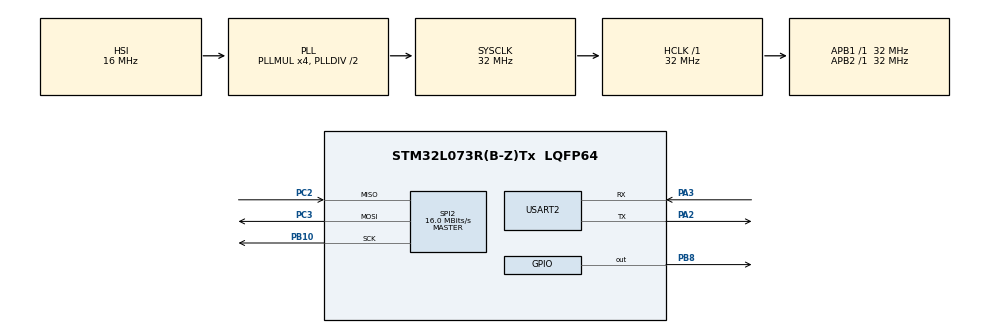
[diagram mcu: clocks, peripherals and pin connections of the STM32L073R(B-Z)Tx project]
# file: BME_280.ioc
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Mcu.Family=STM32L0
Mcu.Name=STM32L073R(B-Z)Tx
Mcu.Package=LQFP64
NVIC.TIM2_IRQn=true\:0\:0\:false\:false\:true\:true\:true\:true
PA2.Mode=Asynchronous
PA2.Signal=USART2_TX
PA3.Mode=Asynchronous
PA3.Signal=USART2_RX
PB10.Mode=Full_Duplex_Master
PB10.Signal=SPI2_SCK
PB8.Signal=GPIO_Output
PC2.Mode=Full_Duplex_Master
PC2.Signal=SPI2_MISO
PC3.Mode=Full_Duplex_Master
PC3.Signal=SPI2_MOSI
ProjectManager.HeapSize=0x200
ProjectManager.StackSize=0x400
ProjectManager.TargetToolchain=STM32CubeIDE
RCC.AHBFreq_Value=32000000
RCC.APB1Freq_Value=32000000
RCC.APB1TimFreq_Value=32000000
RCC.APB2Freq_Value=32000000
RCC.APB2TimFreq_Value=32000000
RCC.HCLKFreq_Value=32000000
RCC.HSE_VALUE=8000000
RCC.HSI16_VALUE=16000000
RCC.HSI48_VALUE=48000000
RCC.HSI_VALUE=16000000
RCC.LSE_VALUE=32768
RCC.MSI_VALUE=2097000
RCC.PLLMUL=RCC_PLLMUL_4
RCC.SYSCLKFreq_VALUE=32000000
RCC.SYSCLKSource=RCC_SYSCLKSOURCE_PLLCLK
RCC.VCOOutputFreq_Value=64000000
SPI2.CLKPhase=SPI_PHASE_2EDGE
SPI2.CLKPolarity=SPI_POLARITY_HIGH
SPI2.CalculateBaudRate=16.0 MBits/s
SPI2.Direction=SPI_DIRECTION_2LINES
SPI2.Mode=SPI_MODE_MASTER
SPI2.VirtualType=VM_MASTER
TIM2.Period=10000-1
TIM2.Prescaler=3200-1
USART2.VirtualMode-Asynchronous=VM_ASYNC
VP_TIM2_VS_ClockSourceINT.Mode=Internal
board=custom

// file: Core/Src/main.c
/* USER CODE BEGIN Header */
/**
  ******************************************************************************
  * @file           : main.c
  * @brief          : Main program body
  ******************************************************************************
  * @attention
  *
  * Copyright (c) 2023 STMicroelectronics.
  * All rights reserved.
  *
  * This software is licensed under terms that can be found in the LICENSE file
  * in the root directory of this software component.
  * If no LICENSE file comes with this software, it is provided AS-IS.
  *
  ******************************************************************************
  */
/* USER CODE END Header */
#include "main.h"

/* USER CODE BEGIN Includes */
#include "bme280.h"
#include <string.h>
#include <stdio.h>
/* USER CODE END Includes */

SPI_HandleTypeDef hspi2;

TIM_HandleTypeDef htim2;

UART_HandleTypeDef huart2;

void SystemClock_Config(void);
static void MX_GPIO_Init(void);
static void MX_USART2_UART_Init(void);
static void MX_SPI2_Init(void);
static void MX_TIM2_Init(void);
/* USER CODE BEGIN PFP */
void stream_sensor_data_normal_mode(struct bme280_dev *dev);
void print_sensor_data(struct bme280_data *comp_data);
void BME280_SPI_Write(uint8_t reg_addr, uint8_t *reg_data, uint32_t len);
void BME280_SPI_Read(uint8_t reg_addr, uint8_t *reg_data, uint32_t len);
//void user_delay_us(uint32_t period, void *intf_ptr);
/* USER CODE END PFP */

/* USER CODE BEGIN 0 */
#define SENSOR_BUS hspi2;
struct bme280_dev dev;
struct bme280_data comp_data;
int __io_putchar(int ch) // UART - NOT NEEDED LATER ON
{
	HAL_UART_Transmit(&huart2, (uint8_t*)&ch, 1, HAL_MAX_DELAY);
	return 1;
}
void HAL_TIM_PeriodElapsedCallback(TIM_HandleTypeDef *htim){ // INTERRUPT - CHANGE ITS BODY TO CHANGE A VALUE OF A FLAG -> SWITCH CASE IN MAIN
	if(htim == &htim2){
		bme280_get_sensor_data(BME280_HUM, &comp_data, &dev); // BME280_ALL
		print_sensor_data(&comp_data);
	}
}
/* USER CODE END 0 */

int main(void)
{

  /* MCU Configuration--------------------------------------------------------*/

  /* Reset of all peripherals, Initializes the Flash interface and the Systick. */
  HAL_Init();

  /* Configure the system clock */
  SystemClock_Config();

  /* Initialize all configured peripherals */
  MX_GPIO_Init();
  MX_USART2_UART_Init();
  MX_SPI2_Init();
  MX_TIM2_Init();
  /* USER CODE BEGIN 2 */

  int8_t rslt = BME280_OK;

  dev.intf_ptr = &SENSOR_BUS;
  dev.intf = BME280_SPI_INTF;
  dev.read = BME280_SPI_Read;
  dev.write = BME280_SPI_Write;
  //dev.delay_us = user_delay_us;

  rslt = bme280_init(&dev);
  if (rslt != BME280_OK)
  {
	  printf("Error - BME280 not detected %d\n", rslt);
	  while(1);
  }

  stream_sensor_data_normal_mode(&dev);

  printf("Initialization successful\n");

  HAL_TIM_Base_Start_IT(&htim2);

  /* USER CODE END 2 */

  /* Infinite loop */
  /* USER CODE BEGIN WHILE */
  while (1)
  {
	  //stream_sensor_data_normal_mode(&dev);

    /* USER CODE END WHILE */

  }
}

void SystemClock_Config(void)
{
  RCC_OscInitTypeDef RCC_OscInitStruct = {0};
  RCC_ClkInitTypeDef RCC_ClkInitStruct = {0};
  RCC_PeriphCLKInitTypeDef PeriphClkInit = {0};

  /** Configure the main internal regulator output voltage
  */
  __HAL_PWR_VOLTAGESCALING_CONFIG(PWR_REGULATOR_VOLTAGE_SCALE1);

  /** Initializes the RCC Oscillators according to the specified parameters
  * in the RCC_OscInitTypeDef structure.
  */
  RCC_OscInitStruct.OscillatorType = RCC_OSCILLATORTYPE_HSI;
  RCC_OscInitStruct.HSIState = RCC_HSI_ON;
  RCC_OscInitStruct.HSICalibrationValue = RCC_HSICALIBRATION_DEFAULT;
  RCC_OscInitStruct.PLL.PLLState = RCC_PLL_ON;
  RCC_OscInitStruct.PLL.PLLSource = RCC_PLLSOURCE_HSI;
  RCC_OscInitStruct.PLL.PLLMUL = RCC_PLLMUL_4;
  RCC_OscInitStruct.PLL.PLLDIV = RCC_PLLDIV_2;
  if (HAL_RCC_OscConfig(&RCC_OscInitStruct) != HAL_OK)
  {
    Error_Handler();
  }

  /** Initializes the CPU, AHB and APB buses clocks
  */
  RCC_ClkInitStruct.ClockType = RCC_CLOCKTYPE_HCLK|RCC_CLOCKTYPE_SYSCLK
                              |RCC_CLOCKTYPE_PCLK1|RCC_CLOCKTYPE_PCLK2;
  RCC_ClkInitStruct.SYSCLKSource = RCC_SYSCLKSOURCE_PLLCLK;
  RCC_ClkInitStruct.AHBCLKDivider = RCC_SYSCLK_DIV1;
  RCC_ClkInitStruct.APB1CLKDivider = RCC_HCLK_DIV1;
  RCC_ClkInitStruct.APB2CLKDivider = RCC_HCLK_DIV1;

  if (HAL_RCC_ClockConfig(&RCC_ClkInitStruct, FLASH_LATENCY_1) != HAL_OK)
  {
    Error_Handler();
  }
  PeriphClkInit.PeriphClockSelection = RCC_PERIPHCLK_USART2;
  PeriphClkInit.Usart2ClockSelection = RCC_USART2CLKSOURCE_PCLK1;
  if (HAL_RCCEx_PeriphCLKConfig(&PeriphClkInit) != HAL_OK)
  {
    Error_Handler();
  }
}

static void MX_SPI2_Init(void)
{

  /* SPI2 parameter configuration*/
  hspi2.Instance = SPI2;
  hspi2.Init.Mode = SPI_MODE_MASTER;
  hspi2.Init.Direction = SPI_DIRECTION_2LINES;
  hspi2.Init.DataSize = SPI_DATASIZE_8BIT;
  hspi2.Init.CLKPolarity = SPI_POLARITY_HIGH;
  hspi2.Init.CLKPhase = SPI_PHASE_2EDGE;
  hspi2.Init.NSS = SPI_NSS_SOFT;
  hspi2.Init.BaudRatePrescaler = SPI_BAUDRATEPRESCALER_2;
  hspi2.Init.FirstBit = SPI_FIRSTBIT_MSB;
  hspi2.Init.TIMode = SPI_TIMODE_DISABLE;
  hspi2.Init.CRCCalculation = SPI_CRCCALCULATION_DISABLE;
  hspi2.Init.CRCPolynomial = 7;
  if (HAL_SPI_Init(&hspi2) != HAL_OK)
  {
    Error_Handler();
  }

}

static void MX_TIM2_Init(void)
{

  TIM_ClockConfigTypeDef sClockSourceConfig = {0};
  TIM_MasterConfigTypeDef sMasterConfig = {0};

  htim2.Instance = TIM2;
  htim2.Init.Prescaler = 3200-1;
  htim2.Init.CounterMode = TIM_COUNTERMODE_UP;
  htim2.Init.Period = 10000-1;
  htim2.Init.ClockDivision = TIM_CLOCKDIVISION_DIV1;
  htim2.Init.AutoReloadPreload = TIM_AUTORELOAD_PRELOAD_DISABLE;
  if (HAL_TIM_Base_Init(&htim2) != HAL_OK)
  {
    Error_Handler();
  }
  sClockSourceConfig.ClockSource = TIM_CLOCKSOURCE_INTERNAL;
  if (HAL_TIM_ConfigClockSource(&htim2, &sClockSourceConfig) != HAL_OK)
  {
    Error_Handler();
  }
  sMasterConfig.MasterOutputTrigger = TIM_TRGO_RESET;
  sMasterConfig.MasterSlaveMode = TIM_MASTERSLAVEMODE_DISABLE;
  if (HAL_TIMEx_MasterConfigSynchronization(&htim2, &sMasterConfig) != HAL_OK)
  {
    Error_Handler();
  }

}

static void MX_USART2_UART_Init(void)
{

  huart2.Instance = USART2;
  huart2.Init.BaudRate = 115200;
  huart2.Init.WordLength = UART_WORDLENGTH_8B;
  huart2.Init.StopBits = UART_STOPBITS_1;
  huart2.Init.Parity = UART_PARITY_NONE;
  huart2.Init.Mode = UART_MODE_TX_RX;
  huart2.Init.HwFlowCtl = UART_HWCONTROL_NONE;
  huart2.Init.OverSampling = UART_OVERSAMPLING_16;
  huart2.Init.OneBitSampling = UART_ONE_BIT_SAMPLE_DISABLE;
  huart2.AdvancedInit.AdvFeatureInit = UART_ADVFEATURE_NO_INIT;
  if (HAL_UART_Init(&huart2) != HAL_OK)
  {
    Error_Handler();
  }

}

static void MX_GPIO_Init(void)
{
  GPIO_InitTypeDef GPIO_InitStruct = {0};

  /* GPIO Ports Clock Enable */
  __HAL_RCC_GPIOC_CLK_ENABLE();
  __HAL_RCC_GPIOA_CLK_ENABLE();
  __HAL_RCC_GPIOB_CLK_ENABLE();

  /*Configure GPIO pin Output Level */
  HAL_GPIO_WritePin(GPIOB, GPIO_PIN_8, GPIO_PIN_RESET);

  /*Configure GPIO pin : PB8 */
  GPIO_InitStruct.Pin = GPIO_PIN_8;
  GPIO_InitStruct.Mode = GPIO_MODE_OUTPUT_PP;
  GPIO_InitStruct.Pull = GPIO_NOPULL;
  GPIO_InitStruct.Speed = GPIO_SPEED_FREQ_LOW;
  HAL_GPIO_Init(GPIOB, &GPIO_InitStruct);

}

/* USER CODE BEGIN 4 */
void stream_sensor_data_normal_mode(struct bme280_dev *dev)
{
	//int8_t rslt;
	uint8_t settings_sel;
	//struct bme280_data comp_data;

	/* Recommended mode of operation: Indoor navigation */
	dev->settings.osr_h = BME280_OVERSAMPLING_1X;
	dev->settings.osr_p = BME280_NO_OVERSAMPLING; // BME280_OVERSAMPLING_16X;
	dev->settings.osr_t = BME280_OVERSAMPLING_2X;
	//dev->settings.filter = BME280_FILTER_COEFF_16;
	//dev->settings.standby_time = BME280_STANDBY_TIME_62_5_MS;

	//settings_sel = BME280_OSR_PRESS_SEL;
	settings_sel = BME280_OSR_TEMP_SEL; // |= BME280_OSR_TEMP_SEL;
	settings_sel |= BME280_OSR_HUM_SEL;
	settings_sel |= BME280_STANDBY_SEL;
	settings_sel |= BME280_FILTER_SEL;
	bme280_set_sensor_settings(settings_sel, dev);
	bme280_set_sensor_mode(BME280_NORMAL_MODE, dev);

	printf("Temperature, Humidity\r\n");

	//return rslt;
}

void print_sensor_data(struct bme280_data *comp_data)
{
//#ifdef BME280_FLOAT_ENABLE
        printf("%0.2f, %0.2f\r\n",comp_data->temperature, comp_data->humidity); // %0.2f, comp_data->pressure, na środku
//#else
//        printf("%ld, %ld, %ld\r\n",comp_data->temperature, comp_data->pressure, comp_data->humidity);
//#endif
}

//void user_delay_us(uint32_t period, void *intf_ptr)
//{
//	HAL_Delay(period);
//}

void BME280_SPI_Read(uint8_t reg_addr, uint8_t *reg_data, uint32_t len)
{
    reg_addr = reg_addr | 0x80;

    HAL_GPIO_WritePin(GPIOB, GPIO_PIN_8, GPIO_PIN_RESET);

    HAL_SPI_Transmit(&hspi2, &reg_addr, 1, 1000);
	HAL_SPI_Receive(&hspi2, reg_data, len, 1000);

    HAL_GPIO_WritePin(GPIOB, GPIO_PIN_8, GPIO_PIN_SET);

}

void BME280_SPI_Write(uint8_t reg_addr, uint8_t *reg_data, uint32_t len)
{

    //int8_t rslt = 0; /* Return 0 for Success, non-zero for failure */
    reg_addr = reg_addr & 0x7F;

    HAL_GPIO_WritePin(GPIOB, GPIO_PIN_8, GPIO_PIN_RESET);

    HAL_SPI_Transmit(&hspi2, &reg_addr, 1, 1000);
    HAL_SPI_Transmit(&hspi2, reg_data, len, 1000);

    HAL_GPIO_WritePin(GPIOB, GPIO_PIN_8, GPIO_PIN_SET);

    //return rslt;
}
/* USER CODE END 4 */

void Error_Handler(void)
{
  __disable_irq();
  while (1)
  {
  }
}
